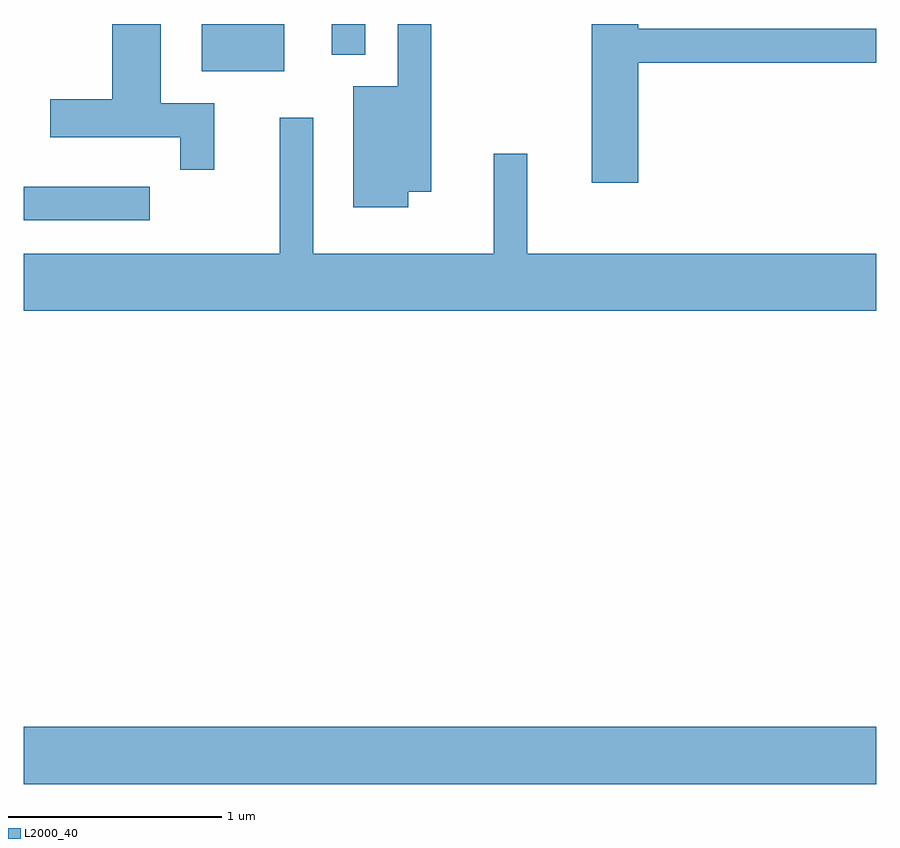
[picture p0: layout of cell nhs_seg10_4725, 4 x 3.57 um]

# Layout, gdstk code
import gdstk
lib = gdstk.Library(unit=1e-6, precision=1e-09)
def R(c, l, rs):  # rectangles x0, y0, x1, y1
    for r in rs: c.add(gdstk.rectangle(r[:2], r[2:], *l))
def P(c, l, *ps):  # polygons
    for p in ps: c.add(gdstk.Polygon(p, *l))
L2000_40 = (2000, 40)

nhs_seg10_4725 = lib.new_cell('nhs_seg10_4725')
R(nhs_seg10_4725, L2000_40, [(323.611,2184.956,327.611,2185.224), (323.611,2187.601,324.203,2187.759), (324.446,2188.301,324.834,2188.522), (325.056,2188.378,325.214,2188.522)])
P(nhs_seg10_4725, L2000_40, [(326.494,2188.341),(327.611,2188.341),(327.611,2188.499),(326.494,2188.499),(326.494,2188.522),(326.276,2188.522),(326.276,2187.776),(326.494,2187.776)],
  [(325.414,2187.736),(325.524,2187.736),(325.524,2188.522),(325.366,2188.522),(325.366,2188.229),(325.156,2188.229),(325.156,2187.661),(325.414,2187.661)],
  [(324.504,2188.149),(324.254,2188.149),(324.254,2188.522),(324.026,2188.522),(324.026,2188.169),(323.736,2188.169),(323.736,2187.991),(324.346,2187.991),(324.346,2187.838),(324.504,2187.838)],
  [(327.611,2187.444),(325.974,2187.444),(325.974,2187.913),(325.816,2187.913),(325.816,2187.444),(324.969,2187.444),(324.969,2188.083),(324.811,2188.083),(324.811,2187.444),(323.611,2187.444),(323.611,2187.176),(327.611,2187.176)])

lib.write_gds('nhs_seg10_4725.gds')
